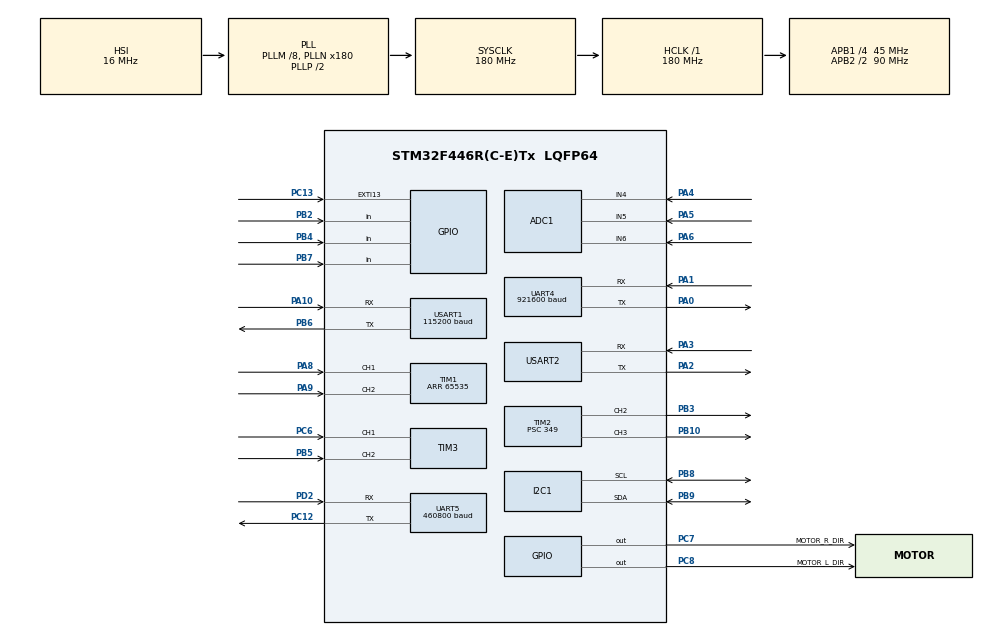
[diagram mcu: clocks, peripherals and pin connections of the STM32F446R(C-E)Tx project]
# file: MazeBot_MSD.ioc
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ADC1.Channel-2\#ChannelRegularConversion=ADC_CHANNEL_4
ADC1.Channel-3\#ChannelInjectedConversion=ADC_CHANNEL_4
ADC1.Channel-4\#ChannelInjectedConversion=ADC_CHANNEL_4
ADC1.Channel-5\#ChannelInjectedConversion=ADC_CHANNEL_4
ADC1.Channel-8\#ChannelRegularConversion=ADC_CHANNEL_5
ADC1.Channel-9\#ChannelRegularConversion=ADC_CHANNEL_6
ADC1.ContinuousConvMode=ENABLE
ADC1.InjNumberOfConversion=3
ADC1.InjectedOffset-3\#ChannelInjectedConversion=0
ADC1.InjectedOffset-4\#ChannelInjectedConversion=0
ADC1.InjectedOffset-5\#ChannelInjectedConversion=0
ADC1.InjectedRank-3\#ChannelInjectedConversion=1
ADC1.InjectedRank-4\#ChannelInjectedConversion=2
ADC1.InjectedRank-5\#ChannelInjectedConversion=3
ADC1.NbrOfConversion=3
ADC1.NbrOfConversionFlag=1
ADC1.Rank-2\#ChannelRegularConversion=1
ADC1.Rank-8\#ChannelRegularConversion=2
ADC1.Rank-9\#ChannelRegularConversion=3
ADC1.SamplingTime-2\#ChannelRegularConversion=ADC_SAMPLETIME_84CYCLES
ADC1.SamplingTime-3\#ChannelInjectedConversion=ADC_SAMPLETIME_3CYCLES
ADC1.SamplingTime-4\#ChannelInjectedConversion=ADC_SAMPLETIME_3CYCLES
ADC1.SamplingTime-5\#ChannelInjectedConversion=ADC_SAMPLETIME_3CYCLES
ADC1.SamplingTime-8\#ChannelRegularConversion=ADC_SAMPLETIME_84CYCLES
ADC1.SamplingTime-9\#ChannelRegularConversion=ADC_SAMPLETIME_84CYCLES
ADC1.ScanConvMode=ENABLE
ADC1.master=1
Dma.ADC1.3.Direction=DMA_PERIPH_TO_MEMORY
Dma.ADC1.3.FIFOMode=DMA_FIFOMODE_DISABLE
Dma.ADC1.3.Instance=DMA2_Stream0
Dma.ADC1.3.MemDataAlignment=DMA_MDATAALIGN_HALFWORD
Dma.ADC1.3.MemInc=DMA_MINC_ENABLE
Dma.ADC1.3.Mode=DMA_CIRCULAR
Dma.ADC1.3.PeriphDataAlignment=DMA_PDATAALIGN_HALFWORD
Dma.ADC1.3.PeriphInc=DMA_PINC_DISABLE
Dma.ADC1.3.Priority=DMA_PRIORITY_LOW
Dma.Request0=USART1_RX
Dma.Request1=UART5_RX
Dma.Request2=USART2_RX
Dma.Request3=ADC1
Dma.Request4=UART4_RX
Dma.UART4_RX.4.Direction=DMA_PERIPH_TO_MEMORY
Dma.UART4_RX.4.FIFOMode=DMA_FIFOMODE_DISABLE
Dma.UART4_RX.4.Instance=DMA1_Stream2
Dma.UART4_RX.4.MemDataAlignment=DMA_MDATAALIGN_BYTE
Dma.UART4_RX.4.MemInc=DMA_MINC_ENABLE
Dma.UART4_RX.4.Mode=DMA_CIRCULAR
Dma.UART4_RX.4.PeriphDataAlignment=DMA_PDATAALIGN_BYTE
Dma.UART4_RX.4.PeriphInc=DMA_PINC_DISABLE
Dma.UART4_RX.4.Priority=DMA_PRIORITY_LOW
Dma.UART5_RX.1.Direction=DMA_PERIPH_TO_MEMORY
Dma.UART5_RX.1.FIFOMode=DMA_FIFOMODE_DISABLE
Dma.UART5_RX.1.Instance=DMA1_Stream0
Dma.UART5_RX.1.MemDataAlignment=DMA_MDATAALIGN_BYTE
Dma.UART5_RX.1.MemInc=DMA_MINC_ENABLE
Dma.UART5_RX.1.Mode=DMA_CIRCULAR
Dma.UART5_RX.1.PeriphDataAlignment=DMA_PDATAALIGN_BYTE
Dma.UART5_RX.1.PeriphInc=DMA_PINC_DISABLE
Dma.UART5_RX.1.Priority=DMA_PRIORITY_VERY_HIGH
Dma.USART1_RX.0.Direction=DMA_PERIPH_TO_MEMORY
Dma.USART1_RX.0.FIFOMode=DMA_FIFOMODE_DISABLE
Dma.USART1_RX.0.Instance=DMA2_Stream2
Dma.USART1_RX.0.MemDataAlignment=DMA_MDATAALIGN_BYTE
Dma.USART1_RX.0.MemInc=DMA_MINC_ENABLE
Dma.USART1_RX.0.Mode=DMA_CIRCULAR
Dma.USART1_RX.0.PeriphDataAlignment=DMA_PDATAALIGN_BYTE
Dma.USART1_RX.0.PeriphInc=DMA_PINC_DISABLE
Dma.USART1_RX.0.Priority=DMA_PRIORITY_HIGH
Dma.USART2_RX.2.Direction=DMA_PERIPH_TO_MEMORY
Dma.USART2_RX.2.FIFOMode=DMA_FIFOMODE_DISABLE
Dma.USART2_RX.2.Instance=DMA1_Stream5
Dma.USART2_RX.2.MemDataAlignment=DMA_MDATAALIGN_BYTE
Dma.USART2_RX.2.MemInc=DMA_MINC_ENABLE
Dma.USART2_RX.2.Mode=DMA_CIRCULAR
Dma.USART2_RX.2.PeriphDataAlignment=DMA_PDATAALIGN_BYTE
Dma.USART2_RX.2.PeriphInc=DMA_PINC_DISABLE
Dma.USART2_RX.2.Priority=DMA_PRIORITY_LOW
FREERTOS.HEAP_NUMBER=4
FREERTOS.Tasks01=defaultTask,0,256,StartDefaultTask,Default,NULL,Dynamic,NULL,NULL
FREERTOS.configTIMER_QUEUE_LENGTH=10
FREERTOS.configTIMER_TASK_PRIORITY=2
FREERTOS.configTIMER_TASK_STACK_DEPTH=256
FREERTOS.configTOTAL_HEAP_SIZE=16384
FREERTOS.configUSE_TIMERS=1
I2C1.I2C_Mode=I2C_Fast
Mcu.Family=STM32F4
Mcu.Name=STM32F446R(C-E)Tx
Mcu.Package=LQFP64
NVIC.DMA1_Stream0_IRQn=true\:5\:0\:false\:false\:true\:true\:false\:true\:true
NVIC.DMA1_Stream2_IRQn=true\:5\:0\:false\:false\:true\:true\:false\:true\:true
NVIC.DMA1_Stream5_IRQn=true\:5\:0\:false\:false\:true\:true\:false\:true\:true
NVIC.DMA2_Stream0_IRQn=true\:5\:0\:false\:false\:true\:true\:false\:true\:true
NVIC.DMA2_Stream2_IRQn=true\:5\:0\:false\:false\:true\:true\:false\:true\:true
NVIC.PriorityGroup=NVIC_PRIORITYGROUP_4
NVIC.UART4_IRQn=true\:5\:0\:false\:false\:true\:true\:true\:true\:true
NVIC.UART5_IRQn=true\:5\:0\:false\:false\:true\:true\:true\:true\:true
NVIC.USART1_IRQn=true\:5\:0\:false\:false\:true\:true\:true\:true\:true
NVIC.USART2_IRQn=true\:5\:0\:false\:false\:true\:true\:true\:true\:true
PA0-WKUP.Mode=Asynchronous
PA0-WKUP.Signal=UART4_TX
PA1.Mode=Asynchronous
PA1.Signal=UART4_RX
PA10.Mode=Asynchronous
PA10.Signal=USART1_RX
PA13.Mode=Serial_Wire
PA13.Signal=SYS_JTMS-SWDIO
PA14.Mode=Serial_Wire
PA14.Signal=SYS_JTCK-SWCLK
PA2.Mode=Asynchronous
PA2.Signal=USART2_TX
PA3.Mode=Asynchronous
PA3.Signal=USART2_RX
PA4.Signal=ADCx_IN4
PA5.Signal=ADCx_IN5
PA6.Signal=ADCx_IN6
PA8.Signal=S_TIM1_CH1
PA9.Signal=S_TIM1_CH2
PB10.Signal=S_TIM2_CH3
PB2.GPIO_PuPd=GPIO_PULLUP
PB2.Signal=GPIO_Input
PB3.Signal=S_TIM2_CH2
PB4.GPIO_PuPd=GPIO_PULLUP
PB4.Signal=GPIO_Input
PB5.Signal=S_TIM3_CH2
PB6.Mode=Asynchronous
PB6.Signal=USART1_TX
PB7.GPIO_PuPd=GPIO_PULLUP
PB7.Signal=GPIO_Input
PB8.Mode=I2C
PB8.Signal=I2C1_SCL
PB9.Mode=I2C
PB9.Signal=I2C1_SDA
PC12.Mode=Asynchronous
PC12.Signal=UART5_TX
PC13.GPIO_ModeDefaultEXTI=GPIO_MODE_IT_FALLING
PC13.GPIO_PuPd=GPIO_PULLUP
PC13.Signal=GPXTI13
PC6.Signal=S_TIM3_CH1
PC7.GPIO_Label=MOTOR_R_DIR
PC7.Signal=GPIO_Output
PC8.GPIO_Label=MOTOR_L_DIR
PC8.Signal=GPIO_Output
PD2.Mode=Asynchronous
PD2.Signal=UART5_RX
ProjectManager.HeapSize=0x4000
ProjectManager.StackSize=0x1000
ProjectManager.TargetToolchain=STM32CubeIDE
RCC.AHBFreq_Value=180000000
RCC.APB1CLKDivider=RCC_HCLK_DIV4
RCC.APB1Freq_Value=45000000
RCC.APB1TimFreq_Value=90000000
RCC.APB2CLKDivider=RCC_HCLK_DIV2
RCC.APB2Freq_Value=90000000
RCC.APB2TimFreq_Value=180000000
RCC.CortexFreq_Value=180000000
RCC.HCLKFreq_Value=180000000
RCC.HSE_VALUE=8000000
RCC.PLLM=8
RCC.PLLN=180
RCC.SYSCLKFreq_VALUE=180000000
RCC.SYSCLKSource=RCC_SYSCLKSOURCE_PLLCLK
RCC.USBFreq_Value=180000000
RCC.VCOOutputFreq_Value=360000000
SH.ADCx_IN4.0=ADC1_IN4,IN4
SH.ADCx_IN5.0=ADC1_IN5,IN5
SH.ADCx_IN6.0=ADC1_IN6,IN6
SH.S_TIM1_CH1.0=TIM1_CH1,Encoder_Interface
SH.S_TIM1_CH2.0=TIM1_CH2,Encoder_Interface
SH.S_TIM2_CH2.0=TIM2_CH2,PWM Generation2 CH2
SH.S_TIM2_CH3.0=TIM2_CH3,PWM Generation3 CH3
SH.S_TIM3_CH1.0=TIM3_CH1,Encoder_Interface
SH.S_TIM3_CH2.0=TIM3_CH2,Encoder_Interface
TIM1.EncoderMode=TIM_ENCODERMODE_TI12
TIM1.IC1Filter=5
TIM1.IC1Polarity=TIM_ICPOLARITY_RISING
TIM1.IC2Filter=5
TIM1.IC2Polarity=TIM_ICPOLARITY_RISING
TIM1.Period=65535
TIM2.Channel-PWM\ Generation2\ CH2=TIM_CHANNEL_2
TIM2.Channel-PWM\ Generation3\ CH3=TIM_CHANNEL_3
TIM2.Period=255
TIM2.Prescaler=349
TIM3.EncoderMode=TIM_ENCODERMODE_TI12
TIM3.IC1Filter=5
TIM3.IC2Filter=5
UART4.BaudRate=921600
UART4.VirtualMode=Asynchronous
UART5.BaudRate=460800
UART5.VirtualMode=Asynchronous
USART1.BaudRate=115200
USART1.VirtualMode=VM_ASYNC
USART2.VirtualMode=VM_ASYNC
VP_FREERTOS_VS_CMSIS_V1.Mode=CMSIS_V1
board=custom

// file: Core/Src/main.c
/* USER CODE BEGIN Header */
/**
  ******************************************************************************
  * @file           : main.c
  * @brief          : Main program body
  ******************************************************************************
  * @attention
  *
  * Copyright (c) 2026 STMicroelectronics.
  * All rights reserved.
  *
  * This software is licensed under terms that can be found in the LICENSE file
  * in the root directory of this software component.
  * If no LICENSE file comes with this software, it is provided AS-IS.
  *
  ******************************************************************************
  */
/* USER CODE END Header */
#include "main.h"
#include "cmsis_os.h"

/* USER CODE BEGIN Includes */
#include <stdio.h>
#include "uart_device.h"
#include "motor.h"
#include "encoder.h"
#include "bt_cmd.h"
#include "robot_state.h"
#include "potentiometer.h"
/* USER CODE END Includes */

ADC_HandleTypeDef hadc1;
DMA_HandleTypeDef hdma_adc1;

I2C_HandleTypeDef hi2c1;

TIM_HandleTypeDef htim1;
TIM_HandleTypeDef htim2;
TIM_HandleTypeDef htim3;

UART_HandleTypeDef huart4;
UART_HandleTypeDef huart5;
UART_HandleTypeDef huart1;
UART_HandleTypeDef huart2;
DMA_HandleTypeDef hdma_uart4_rx;
DMA_HandleTypeDef hdma_uart5_rx;
DMA_HandleTypeDef hdma_usart1_rx;
DMA_HandleTypeDef hdma_usart2_rx;

osThreadId defaultTaskHandle;

void SystemClock_Config(void);
static void MX_GPIO_Init(void);
static void MX_DMA_Init(void);
static void MX_USART1_UART_Init(void);
static void MX_USART2_UART_Init(void);
static void MX_UART4_Init(void);
static void MX_UART5_Init(void);
static void MX_TIM1_Init(void);
static void MX_TIM2_Init(void);
static void MX_ADC1_Init(void);
static void MX_I2C1_Init(void);
static void MX_TIM3_Init(void);
void StartDefaultTask(void const * argument);

/* USER CODE BEGIN PFP */
extern void CommandTask(void const *argument);
extern void MotorControlTask(void const *argument);
extern void IMU900Task(void const *argument);
extern void LidarTask(void const *argument);
extern void ButtonTask(void const *argument);
extern void UITask(void const *argument);
/* USER CODE END PFP */

int main(void)
{

  /* MCU Configuration--------------------------------------------------------*/

  /* Reset of all peripherals, Initializes the Flash interface and the Systick. */
  HAL_Init();

  /* Configure the system clock */
  SystemClock_Config();

  /* Initialize all configured peripherals */
  MX_GPIO_Init();
  MX_DMA_Init();
  MX_USART1_UART_Init();
  MX_USART2_UART_Init();
  MX_UART4_Init();
  MX_UART5_Init();
  MX_TIM1_Init();
  MX_TIM2_Init();
  MX_ADC1_Init();
  MX_I2C1_Init();
  MX_TIM3_Init();
  /* USER CODE BEGIN 2 */
  UART_Device_Init();
  Motor_Init();
  Encoder_Init();
  RobotState_Init();
  Pot_Init();
  BtCmd_Init();
  printf("MazeBot_MSD started\r\n");
  /* USER CODE END 2 */

  /* Create the thread(s) */
  /* definition and creation of defaultTask */
  osThreadDef(defaultTask, StartDefaultTask, osPriorityNormal, 0, 256);
  defaultTaskHandle = osThreadCreate(osThread(defaultTask), NULL);

  /* USER CODE BEGIN RTOS_THREADS */
  /* CommandTask: 蓝牙命令接收, 1ms周期, 优先级AboveNormal */
  osThreadDef(cmdTask, CommandTask, osPriorityAboveNormal, 0, 256);
  osThreadCreate(osThread(cmdTask), NULL);

  /* MotorControlTask: 编码器采样+PID控制, 5ms周期, 优先级AboveNormal */
  osThreadDef(motorTask, MotorControlTask, osPriorityAboveNormal, 0, 512);
  osThreadCreate(osThread(motorTask), NULL);

  /* IMU900Task: IMU数据解析+里程计, 2ms周期, 优先级Normal */
  osThreadDef(imuTask, IMU900Task, osPriorityNormal, 0, 512);
  osThreadCreate(osThread(imuTask), NULL);

  /* LidarTask: RPLIDAR扫描数据处理, 2ms周期, 优先级Normal */
  osThreadDef(lidarTask, LidarTask, osPriorityNormal, 0, 512);
  osThreadCreate(osThread(lidarTask), NULL);

  /* ButtonTask: 按钮消抖+E-STOP复位, 20ms周期, 优先级Normal */
  osThreadDef(btnTask, ButtonTask, osPriorityNormal, 0, 256);
  osThreadCreate(osThread(btnTask), NULL);

  /* UITask: OLED显示+电位器更新, 200ms周期, 优先级BelowNormal */
  osThreadDef(uiTask, UITask, osPriorityBelowNormal, 0, 384);
  osThreadCreate(osThread(uiTask), NULL);
  /* USER CODE END RTOS_THREADS */

  /* Start scheduler */
  osKernelStart();

  /* We should never get here as control is now taken by the scheduler */

  /* Infinite loop */
  while (1)
  {

  }
}

void SystemClock_Config(void)
{
  RCC_OscInitTypeDef RCC_OscInitStruct = {0};
  RCC_ClkInitTypeDef RCC_ClkInitStruct = {0};

  /** Configure the main internal regulator output voltage
  */
  __HAL_RCC_PWR_CLK_ENABLE();
  __HAL_PWR_VOLTAGESCALING_CONFIG(PWR_REGULATOR_VOLTAGE_SCALE1);

  /** Initializes the RCC Oscillators according to the specified parameters
  * in the RCC_OscInitTypeDef structure.
  */
  RCC_OscInitStruct.OscillatorType = RCC_OSCILLATORTYPE_HSI;
  RCC_OscInitStruct.HSIState = RCC_HSI_ON;
  RCC_OscInitStruct.HSICalibrationValue = RCC_HSICALIBRATION_DEFAULT;
  RCC_OscInitStruct.PLL.PLLState = RCC_PLL_ON;
  RCC_OscInitStruct.PLL.PLLSource = RCC_PLLSOURCE_HSI;
  RCC_OscInitStruct.PLL.PLLM = 8;
  RCC_OscInitStruct.PLL.PLLN = 180;
  RCC_OscInitStruct.PLL.PLLP = RCC_PLLP_DIV2;
  RCC_OscInitStruct.PLL.PLLQ = 2;
  RCC_OscInitStruct.PLL.PLLR = 2;
  if (HAL_RCC_OscConfig(&RCC_OscInitStruct) != HAL_OK)
  {
    Error_Handler();
  }

  /** Activate the Over-Drive mode
  */
  if (HAL_PWREx_EnableOverDrive() != HAL_OK)
  {
    Error_Handler();
  }

  /** Initializes the CPU, AHB and APB buses clocks
  */
  RCC_ClkInitStruct.ClockType = RCC_CLOCKTYPE_HCLK|RCC_CLOCKTYPE_SYSCLK
                              |RCC_CLOCKTYPE_PCLK1|RCC_CLOCKTYPE_PCLK2;
  RCC_ClkInitStruct.SYSCLKSource = RCC_SYSCLKSOURCE_PLLCLK;
  RCC_ClkInitStruct.AHBCLKDivider = RCC_SYSCLK_DIV1;
  RCC_ClkInitStruct.APB1CLKDivider = RCC_HCLK_DIV4;
  RCC_ClkInitStruct.APB2CLKDivider = RCC_HCLK_DIV2;

  if (HAL_RCC_ClockConfig(&RCC_ClkInitStruct, FLASH_LATENCY_5) != HAL_OK)
  {
    Error_Handler();
  }
}

static void MX_ADC1_Init(void)
{

  ADC_ChannelConfTypeDef sConfig = {0};
  ADC_InjectionConfTypeDef sConfigInjected = {0};

  /** Configure the global features of the ADC (Clock, Resolution, Data Alignment and number of conversion)
  */
  hadc1.Instance = ADC1;
  hadc1.Init.ClockPrescaler = ADC_CLOCK_SYNC_PCLK_DIV4;
  hadc1.Init.Resolution = ADC_RESOLUTION_12B;
  hadc1.Init.ScanConvMode = ENABLE;
  hadc1.Init.ContinuousConvMode = ENABLE;
  hadc1.Init.DiscontinuousConvMode = DISABLE;
  hadc1.Init.ExternalTrigConvEdge = ADC_EXTERNALTRIGCONVEDGE_NONE;
  hadc1.Init.ExternalTrigConv = ADC_SOFTWARE_START;
  hadc1.Init.DataAlign = ADC_DATAALIGN_RIGHT;
  hadc1.Init.NbrOfConversion = 3;
  hadc1.Init.DMAContinuousRequests = DISABLE;
  hadc1.Init.EOCSelection = ADC_EOC_SINGLE_CONV;
  if (HAL_ADC_Init(&hadc1) != HAL_OK)
  {
    Error_Handler();
  }

  /** Configure for the selected ADC regular channel its corresponding rank in the sequencer and its sample time.
  */
  sConfig.Channel = ADC_CHANNEL_4;
  sConfig.Rank = 1;
  sConfig.SamplingTime = ADC_SAMPLETIME_84CYCLES;
  if (HAL_ADC_ConfigChannel(&hadc1, &sConfig) != HAL_OK)
  {
    Error_Handler();
  }

  /** Configure for the selected ADC regular channel its corresponding rank in the sequencer and its sample time.
  */
  sConfig.Channel = ADC_CHANNEL_5;
  sConfig.Rank = 2;
  if (HAL_ADC_ConfigChannel(&hadc1, &sConfig) != HAL_OK)
  {
    Error_Handler();
  }

  /** Configure for the selected ADC regular channel its corresponding rank in the sequencer and its sample time.
  */
  sConfig.Channel = ADC_CHANNEL_6;
  sConfig.Rank = 3;
  if (HAL_ADC_ConfigChannel(&hadc1, &sConfig) != HAL_OK)
  {
    Error_Handler();
  }

  /** Configures for the selected ADC injected channel its corresponding rank in the sequencer and its sample time
  */
  sConfigInjected.InjectedChannel = ADC_CHANNEL_4;
  sConfigInjected.InjectedRank = 1;
  sConfigInjected.InjectedNbrOfConversion = 3;
  sConfigInjected.InjectedSamplingTime = ADC_SAMPLETIME_3CYCLES;
  sConfigInjected.ExternalTrigInjecConvEdge = ADC_EXTERNALTRIGINJECCONVEDGE_NONE;
  sConfigInjected.ExternalTrigInjecConv = ADC_INJECTED_SOFTWARE_START;
  sConfigInjected.AutoInjectedConv = DISABLE;
  sConfigInjected.InjectedDiscontinuousConvMode = DISABLE;
  sConfigInjected.InjectedOffset = 0;
  if (HAL_ADCEx_InjectedConfigChannel(&hadc1, &sConfigInjected) != HAL_OK)
  {
    Error_Handler();
  }

  /** Configures for the selected ADC injected channel its corresponding rank in the sequencer and its sample time
  */
  sConfigInjected.InjectedRank = 2;
  if (HAL_ADCEx_InjectedConfigChannel(&hadc1, &sConfigInjected) != HAL_OK)
  {
    Error_Handler();
  }

  /** Configures for the selected ADC injected channel its corresponding rank in the sequencer and its sample time
  */
  sConfigInjected.InjectedRank = 3;
  if (HAL_ADCEx_InjectedConfigChannel(&hadc1, &sConfigInjected) != HAL_OK)
  {
    Error_Handler();
  }

}

static void MX_I2C1_Init(void)
{

  hi2c1.Instance = I2C1;
  hi2c1.Init.ClockSpeed = 400000;
  hi2c1.Init.DutyCycle = I2C_DUTYCYCLE_2;
  hi2c1.Init.OwnAddress1 = 0;
  hi2c1.Init.AddressingMode = I2C_ADDRESSINGMODE_7BIT;
  hi2c1.Init.DualAddressMode = I2C_DUALADDRESS_DISABLE;
  hi2c1.Init.OwnAddress2 = 0;
  hi2c1.Init.GeneralCallMode = I2C_GENERALCALL_DISABLE;
  hi2c1.Init.NoStretchMode = I2C_NOSTRETCH_DISABLE;
  if (HAL_I2C_Init(&hi2c1) != HAL_OK)
  {
    Error_Handler();
  }

}

static void MX_TIM1_Init(void)
{

  TIM_Encoder_InitTypeDef sConfig = {0};
  TIM_MasterConfigTypeDef sMasterConfig = {0};

  htim1.Instance = TIM1;
  htim1.Init.Prescaler = 0;
  htim1.Init.CounterMode = TIM_COUNTERMODE_UP;
  htim1.Init.Period = 65535;
  htim1.Init.ClockDivision = TIM_CLOCKDIVISION_DIV1;
  htim1.Init.RepetitionCounter = 0;
  htim1.Init.AutoReloadPreload = TIM_AUTORELOAD_PRELOAD_DISABLE;
  sConfig.EncoderMode = TIM_ENCODERMODE_TI12;
  sConfig.IC1Polarity = TIM_ICPOLARITY_RISING;
  sConfig.IC1Selection = TIM_ICSELECTION_DIRECTTI;
  sConfig.IC1Prescaler = TIM_ICPSC_DIV1;
  sConfig.IC1Filter = 5;
  sConfig.IC2Polarity = TIM_ICPOLARITY_RISING;
  sConfig.IC2Selection = TIM_ICSELECTION_DIRECTTI;
  sConfig.IC2Prescaler = TIM_ICPSC_DIV1;
  sConfig.IC2Filter = 5;
  if (HAL_TIM_Encoder_Init(&htim1, &sConfig) != HAL_OK)
  {
    Error_Handler();
  }
  sMasterConfig.MasterOutputTrigger = TIM_TRGO_RESET;
  sMasterConfig.MasterSlaveMode = TIM_MASTERSLAVEMODE_DISABLE;
  if (HAL_TIMEx_MasterConfigSynchronization(&htim1, &sMasterConfig) != HAL_OK)
  {
    Error_Handler();
  }

}

static void MX_TIM2_Init(void)
{

  TIM_MasterConfigTypeDef sMasterConfig = {0};
  TIM_OC_InitTypeDef sConfigOC = {0};

  htim2.Instance = TIM2;
  htim2.Init.Prescaler = 349;
  htim2.Init.CounterMode = TIM_COUNTERMODE_UP;
  htim2.Init.Period = 255;
  htim2.Init.ClockDivision = TIM_CLOCKDIVISION_DIV1;
  htim2.Init.AutoReloadPreload = TIM_AUTORELOAD_PRELOAD_DISABLE;
  if (HAL_TIM_PWM_Init(&htim2) != HAL_OK)
  {
    Error_Handler();
  }
  sMasterConfig.MasterOutputTrigger = TIM_TRGO_RESET;
  sMasterConfig.MasterSlaveMode = TIM_MASTERSLAVEMODE_DISABLE;
  if (HAL_TIMEx_MasterConfigSynchronization(&htim2, &sMasterConfig) != HAL_OK)
  {
    Error_Handler();
  }
  sConfigOC.OCMode = TIM_OCMODE_PWM1;
  sConfigOC.Pulse = 0;
  sConfigOC.OCPolarity = TIM_OCPOLARITY_HIGH;
  sConfigOC.OCFastMode = TIM_OCFAST_DISABLE;
  if (HAL_TIM_PWM_ConfigChannel(&htim2, &sConfigOC, TIM_CHANNEL_2) != HAL_OK)
  {
    Error_Handler();
  }
  if (HAL_TIM_PWM_ConfigChannel(&htim2, &sConfigOC, TIM_CHANNEL_3) != HAL_OK)
  {
    Error_Handler();
  }
  HAL_TIM_MspPostInit(&htim2);

}

static void MX_TIM3_Init(void)
{

  TIM_Encoder_InitTypeDef sConfig = {0};
  TIM_MasterConfigTypeDef sMasterConfig = {0};

  htim3.Instance = TIM3;
  htim3.Init.Prescaler = 0;
  htim3.Init.CounterMode = TIM_COUNTERMODE_UP;
  htim3.Init.Period = 65535;
  htim3.Init.ClockDivision = TIM_CLOCKDIVISION_DIV1;
  htim3.Init.AutoReloadPreload = TIM_AUTORELOAD_PRELOAD_DISABLE;
  sConfig.EncoderMode = TIM_ENCODERMODE_TI12;
  sConfig.IC1Polarity = TIM_ICPOLARITY_RISING;
  sConfig.IC1Selection = TIM_ICSELECTION_DIRECTTI;
  sConfig.IC1Prescaler = TIM_ICPSC_DIV1;
  sConfig.IC1Filter = 5;
  sConfig.IC2Polarity = TIM_ICPOLARITY_RISING;
  sConfig.IC2Selection = TIM_ICSELECTION_DIRECTTI;
  sConfig.IC2Prescaler = TIM_ICPSC_DIV1;
  sConfig.IC2Filter = 5;
  if (HAL_TIM_Encoder_Init(&htim3, &sConfig) != HAL_OK)
  {
    Error_Handler();
  }
  sMasterConfig.MasterOutputTrigger = TIM_TRGO_RESET;
  sMasterConfig.MasterSlaveMode = TIM_MASTERSLAVEMODE_DISABLE;
  if (HAL_TIMEx_MasterConfigSynchronization(&htim3, &sMasterConfig) != HAL_OK)
  {
    Error_Handler();
  }

}

static void MX_UART4_Init(void)
{

  huart4.Instance = UART4;
  huart4.Init.BaudRate = 921600;
  huart4.Init.WordLength = UART_WORDLENGTH_8B;
  huart4.Init.StopBits = UART_STOPBITS_1;
  huart4.Init.Parity = UART_PARITY_NONE;
  huart4.Init.Mode = UART_MODE_TX_RX;
  huart4.Init.HwFlowCtl = UART_HWCONTROL_NONE;
  huart4.Init.OverSampling = UART_OVERSAMPLING_16;
  if (HAL_UART_Init(&huart4) != HAL_OK)
  {
    Error_Handler();
  }

}

static void MX_UART5_Init(void)
{

  huart5.Instance = UART5;
  huart5.Init.BaudRate = 460800;
  huart5.Init.WordLength = UART_WORDLENGTH_8B;
  huart5.Init.StopBits = UART_STOPBITS_1;
  huart5.Init.Parity = UART_PARITY_NONE;
  huart5.Init.Mode = UART_MODE_TX_RX;
  huart5.Init.HwFlowCtl = UART_HWCONTROL_NONE;
  huart5.Init.OverSampling = UART_OVERSAMPLING_16;
  if (HAL_UART_Init(&huart5) != HAL_OK)
  {
    Error_Handler();
  }

}

static void MX_USART1_UART_Init(void)
{

  huart1.Instance = USART1;
  huart1.Init.BaudRate = 115200;
  huart1.Init.WordLength = UART_WORDLENGTH_8B;
  huart1.Init.StopBits = UART_STOPBITS_1;
  huart1.Init.Parity = UART_PARITY_NONE;
  huart1.Init.Mode = UART_MODE_TX_RX;
  huart1.Init.HwFlowCtl = UART_HWCONTROL_NONE;
  huart1.Init.OverSampling = UART_OVERSAMPLING_16;
  if (HAL_UART_Init(&huart1) != HAL_OK)
  {
    Error_Handler();
  }

}

static void MX_USART2_UART_Init(void)
{

  huart2.Instance = USART2;
  huart2.Init.BaudRate = 115200;
  huart2.Init.WordLength = UART_WORDLENGTH_8B;
  huart2.Init.StopBits = UART_STOPBITS_1;
  huart2.Init.Parity = UART_PARITY_NONE;
  huart2.Init.Mode = UART_MODE_TX_RX;
  huart2.Init.HwFlowCtl = UART_HWCONTROL_NONE;
  huart2.Init.OverSampling = UART_OVERSAMPLING_16;
  if (HAL_UART_Init(&huart2) != HAL_OK)
  {
    Error_Handler();
  }

}

static void MX_DMA_Init(void)
{

  /* DMA controller clock enable */
  __HAL_RCC_DMA2_CLK_ENABLE();
  __HAL_RCC_DMA1_CLK_ENABLE();

  /* DMA interrupt init */
  /* DMA1_Stream0_IRQn interrupt configuration */
  HAL_NVIC_SetPriority(DMA1_Stream0_IRQn, 5, 0);
  HAL_NVIC_EnableIRQ(DMA1_Stream0_IRQn);
  /* DMA1_Stream2_IRQn interrupt configuration */
  HAL_NVIC_SetPriority(DMA1_Stream2_IRQn, 5, 0);
  HAL_NVIC_EnableIRQ(DMA1_Stream2_IRQn);
  /* DMA1_Stream5_IRQn interrupt configuration */
  HAL_NVIC_SetPriority(DMA1_Stream5_IRQn, 5, 0);
  HAL_NVIC_EnableIRQ(DMA1_Stream5_IRQn);
  /* DMA2_Stream0_IRQn interrupt configuration */
  HAL_NVIC_SetPriority(DMA2_Stream0_IRQn, 5, 0);
  HAL_NVIC_EnableIRQ(DMA2_Stream0_IRQn);
  /* DMA2_Stream2_IRQn interrupt configuration */
  HAL_NVIC_SetPriority(DMA2_Stream2_IRQn, 5, 0);
  HAL_NVIC_EnableIRQ(DMA2_Stream2_IRQn);

}

static void MX_GPIO_Init(void)
{
  GPIO_InitTypeDef GPIO_InitStruct = {0};

  /* GPIO Ports Clock Enable */
  __HAL_RCC_GPIOC_CLK_ENABLE();
  __HAL_RCC_GPIOA_CLK_ENABLE();
  __HAL_RCC_GPIOB_CLK_ENABLE();
  __HAL_RCC_GPIOD_CLK_ENABLE();

  /*Configure GPIO pin Output Level */
  HAL_GPIO_WritePin(GPIOC, MOTOR_R_DIR_Pin|MOTOR_L_DIR_Pin, GPIO_PIN_RESET);

  /*Configure GPIO pin : PC13 */
  GPIO_InitStruct.Pin = GPIO_PIN_13;
  GPIO_InitStruct.Mode = GPIO_MODE_IT_FALLING;
  GPIO_InitStruct.Pull = GPIO_PULLUP;
  HAL_GPIO_Init(GPIOC, &GPIO_InitStruct);

  /*Configure GPIO pins : PB2 PB4 PB7 */
  GPIO_InitStruct.Pin = GPIO_PIN_2|GPIO_PIN_4|GPIO_PIN_7;
  GPIO_InitStruct.Mode = GPIO_MODE_INPUT;
  GPIO_InitStruct.Pull = GPIO_PULLUP;
  HAL_GPIO_Init(GPIOB, &GPIO_InitStruct);

  /*Configure GPIO pins : MOTOR_R_DIR_Pin MOTOR_L_DIR_Pin */
  GPIO_InitStruct.Pin = MOTOR_R_DIR_Pin|MOTOR_L_DIR_Pin;
  GPIO_InitStruct.Mode = GPIO_MODE_OUTPUT_PP;
  GPIO_InitStruct.Pull = GPIO_NOPULL;
  GPIO_InitStruct.Speed = GPIO_SPEED_FREQ_LOW;
  HAL_GPIO_Init(GPIOC, &GPIO_InitStruct);

}

void StartDefaultTask(void const * argument)
{
  for(;;)
  {
    osDelay(1);
  }
}

void Error_Handler(void)
{
  __disable_irq();
  while (1)
  {
  }
}

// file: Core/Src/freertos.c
/* USER CODE BEGIN Header */
/**
  ******************************************************************************
  * File Name          : freertos.c
  * Description        : Code for freertos applications
  ******************************************************************************
  * @attention
  *
  * Copyright (c) 2026 STMicroelectronics.
  * All rights reserved.
  *
  * This software is licensed under terms that can be found in the LICENSE file
  * in the root directory of this software component.
  * If no LICENSE file comes with this software, it is provided AS-IS.
  *
  ******************************************************************************
  */
/* USER CODE END Header */

#include "FreeRTOS.h"
#include "task.h"
#include "main.h"

/* USER CODE BEGIN Includes */
#include "cmsis_os.h"
#include "uart_device.h"
#include "motor.h"
#include "encoder.h"
#include "im948.h"
#include "bt_cmd.h"
#include "lidar.h"
#include "robot_state.h"
#include "button.h"
#include "ui_task.h"
/* USER CODE END Includes */

/* USER CODE BEGIN FunctionPrototypes */
void CommandTask(void const *argument);
void MotorControlTask(void const *argument);
void IMU900Task(void const *argument);
void LidarTask(void const *argument);
/* USER CODE END FunctionPrototypes */

/* GetIdleTaskMemory prototype (linked to static allocation support) */
void vApplicationGetIdleTaskMemory( StaticTask_t **ppxIdleTaskTCBBuffer, StackType_t **ppxIdleTaskStackBuffer, uint32_t *pulIdleTaskStackSize );

/* GetTimerTaskMemory prototype (linked to static allocation support) */
void vApplicationGetTimerTaskMemory( StaticTask_t **ppxTimerTaskTCBBuffer, StackType_t **ppxTimerTaskStackBuffer, uint32_t *pulTimerTaskStackSize );

/* USER CODE BEGIN GET_IDLE_TASK_MEMORY */
static StaticTask_t xIdleTaskTCBBuffer;
static StackType_t xIdleStack[configMINIMAL_STACK_SIZE];

void vApplicationGetIdleTaskMemory( StaticTask_t **ppxIdleTaskTCBBuffer, StackType_t **ppxIdleTaskStackBuffer, uint32_t *pulIdleTaskStackSize )
{
  *ppxIdleTaskTCBBuffer = &xIdleTaskTCBBuffer;
  *ppxIdleTaskStackBuffer = &xIdleStack[0];
  *pulIdleTaskStackSize = configMINIMAL_STACK_SIZE;
  /* place for user code */
}
/* USER CODE END GET_IDLE_TASK_MEMORY */

/* USER CODE BEGIN GET_TIMER_TASK_MEMORY */
static StaticTask_t xTimerTaskTCBBuffer;
static StackType_t xTimerStack[configTIMER_TASK_STACK_DEPTH];

void vApplicationGetTimerTaskMemory( StaticTask_t **ppxTimerTaskTCBBuffer, StackType_t **ppxTimerTaskStackBuffer, uint32_t *pulTimerTaskStackSize )
{
  *ppxTimerTaskTCBBuffer = &xTimerTaskTCBBuffer;
  *ppxTimerTaskStackBuffer = &xTimerStack[0];
  *pulTimerTaskStackSize = configTIMER_TASK_STACK_DEPTH;
  /* place for user code */
}
/* USER CODE END GET_TIMER_TASK_MEMORY */

/* USER CODE BEGIN Application */

/**
 * @brief 蓝牙命令接收任务 (1ms周期, 优先级4)
 *        从BT DMA缓冲区读取字节, 逐字节喂给BtCmd_ProcessByte
 */
void CommandTask(void const *argument)
{
    (void)argument;
    for (;;) {
        uint8_t tmp[32];
        uint16_t n = BT_ReadDMA(tmp, sizeof(tmp));
        for (uint16_t i = 0; i < n; i++) {
            BtCmd_ProcessByte((char)tmp[i]);
        }
        osDelay(1);
    }
}

/**
 * @brief 电机控制任务 (5ms周期, 优先级4)
 *        采样编码器 + 级联PID运动控制
 */
void MotorControlTask(void const *argument)
{
    (void)argument;
    const float dt_s = 0.005f;  /* 5ms */
    for (;;) {
        Encoder_Update();
        BtCmd_UpdateMotorControl(dt_s);
        osDelay(5);
    }
}

/**
 * @brief IMU数据处理任务 (2ms周期, 优先级3)
 *        解析IMU数据包, 更新姿态角和里程计
 */
void IMU900Task(void const *argument)
{
    (void)argument;
    IMU_Init();
    for (;;) {
        IMU_Update();
        osDelay(2);
    }
}

/**
 * @brief LIDAR数据处理任务 (2ms周期, 优先级3)
 *        解析RPLIDAR扫描数据, 融合里程计后蓝牙发送
 */
void LidarTask(void const *argument)
{
    (void)argument;
    Lidar_Init();
    for (;;) {
        Lidar_Update();
        osDelay(2);
    }
}

/* USER CODE END Application */
